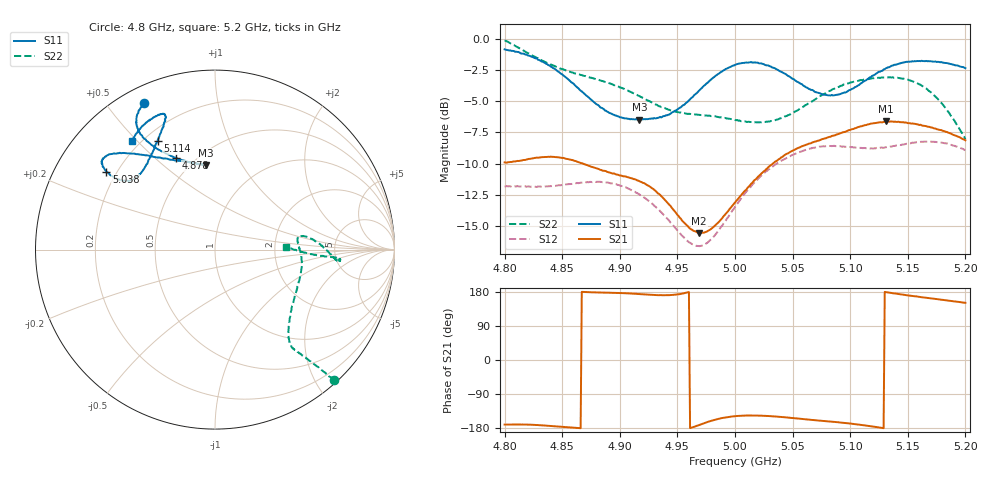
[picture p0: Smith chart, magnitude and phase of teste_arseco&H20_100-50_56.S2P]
! Network Analyzer HP8722D
! Hewlett-Packard
! Data name: Linha & Wilkinson
! Saver's name: Rodrigo Anjos
! Comments: Teste da utilização de aquisição
! continua pelo VNA HP8722D
! Time and date: 6/5/2025 13:02
!  Frequency  S11  S21  S12  S22
# HZ  S  MA R 50
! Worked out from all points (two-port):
!   401 points, 4.8 GHz to 5.2 GHz, reference 50 ohm
!   highest |S21| = -6.62 dB at 5.131 GHz (marker M1); lowest = -15.6 dB at 4.969 GHz (marker M2)
!   |S21| within 3 dB of the highest: 4.822 GHz to 4.854 GHz (31.5 MHz wide, 0.651 % of centre); 5.039 GHz to end of sweep
!   lowest |S11| = -6.5 dB at 4.917 GHz (marker M3), VSWR 2.80, Z = 29.2 + j35.5 ohm
!   |S11| at or under -10 dB: nowhere
!   |S22| runs from -8.0 to -0.1 dB; largest |S21 - S12| = 0.83
!   S11 on the Smith chart (normalised r, x): 4.8 GHz: 0.07, +0.62; 4.878 GHz: 0.40, +0.59; 5.038 GHz: 0.16, +0.31; 5.114 GHz: 0.25, +0.57; 5.2 GHz: 0.17, +0.49
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4.8e9  0.9054 115.9  0.3199 -170.4  0.2567 -86.0  0.983 -47.5
4.835e9  0.7995 122.5  0.3361 -172.9  0.2563 -76.4  0.807 -49.7
4.867e9  0.6148 117.9  0.3176 179.8  0.2655 -67.2  0.7147 -51.5
4.878e9  0.5551 113.0  0.3044 178.5  0.2677 -65.8  0.691 -51.8
4.9e9  0.4845 101.2  0.2836 176.6  0.2584 -66.3  0.6379 -50.2
4.917e9  0.4735 96.2  0.2691 174.1  0.2382 -68.4  0.5894 -45.7
4.934e9  0.4831 99.1  0.2394 171.0  0.2071 -69.3  0.5366 -37.4
4.949e9  0.5163 108.7  0.2004 172.7  0.1732 -65.9  0.5098 -27.7
4.969e9  0.6205 123.5  0.1667 -171.5  0.1479 -47.8  0.4956 -15.0
4.982e9  0.702 130.4  0.1776 -158.3  0.1624 -33.0  0.4893 -8.1
5e9  0.7851 137.3  0.2209 -148.4  0.2124 -21.3  0.4726 -0.3
5.019e9  0.8012 141.8  0.277 -146.6  0.2716 -18.3  0.4627 6.0
5.038e9  0.7455 144.3  0.3293 -149.7  0.3205 -18.3  0.4772 8.9
5.067e9  0.6233 142.0  0.3842 -158.1  0.3654 -20.5  0.5609 4.7
5.087e9  0.5945 133.4  0.4106 -163.8  0.3716 -23.5  0.6344 -1.3
5.114e9  0.6825 117.9  0.4512 -173.2  0.3643 -26.5  0.6879 -5.2
5.131e9  0.7611 111.9  0.4667 179.2  0.3678 -28.3  0.6984 -4.9
5.134e9  0.7686 111.1  0.4649 177.8  0.3686 -28.7  0.7 -4.8
5.148e9  0.8058 110.6  0.4619 171.4  0.3788 -31.3  0.6887 -4.0
5.164e9  0.813 113.3  0.4478 165.0  0.3873 -35.9  0.6411 -3.6
5.181e9  0.8007 119.4  0.4273 158.5  0.3823 -41.2  0.5403 -2.8
5.2e9  0.7615 127.2  0.392 150.9  0.358 -46.2  0.3961 2.5
